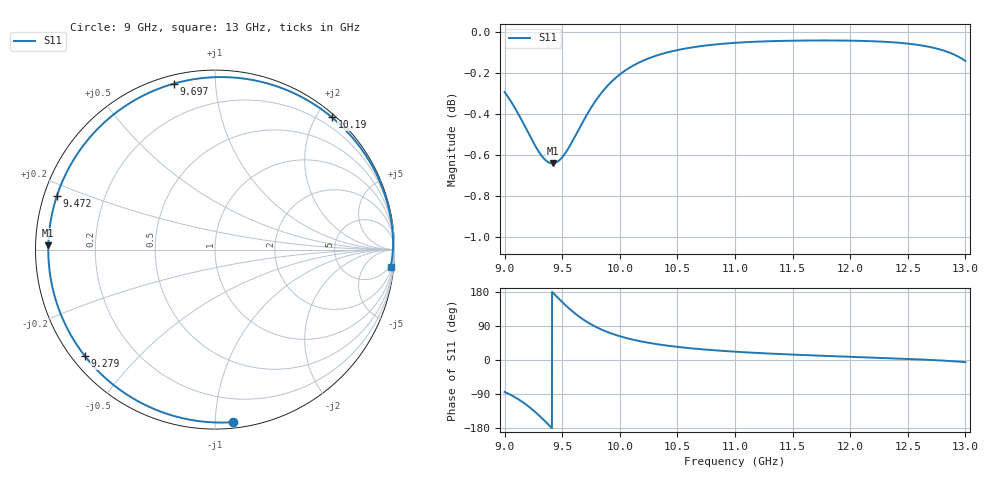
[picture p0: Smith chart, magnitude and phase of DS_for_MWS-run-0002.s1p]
! TOUCHSTONE file generated by CST DESIGN STUDIO
! Date and time: Tue Feb  4 14:22:58 2025
! Project name: C:\Work\MatlabApps\UnitCellOptimizationMatlab\CST\unitcell.cst
! Tree item: Tasks\Sweep1\SPara1\S-Parameters
! Header version: 2024
! Port assignment regex: !\s*Touchstone port\s*([0-9]+)\s*=\s*(CST MWS port|CST DES external port|CST DES block port)\s*(.+)\s* \(\"(.*)\"\)(\s*mode\s*([0-9]+))?.*
! Touchstone port assignment:
! Touchstone port 1 = CST DES external port 1 ("")
# GHz S MA R 50
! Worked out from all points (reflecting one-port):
!   4001 points, 9 GHz to 13 GHz, reference 50 ohm
!   lowest |S11| = -0.6 dB at 9.416 GHz (marker M1), VSWR 27.11, Z = 1.84 + j0.656 ohm
!   phase of S11 starts at -84 deg and turns -281 deg over the sweep
!   S11 on the Smith chart (normalised r, x): 9 GHz: 0.04, -1.11; 9.279 GHz: 0.04, -0.36; 9.472 GHz: 0.04, +0.16; 9.697 GHz: 0.04, +0.78; 10.19 GHz: 0.05, +2.22; 13 GHz: 3, -20
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9  0.9667 -84.2
9.02  0.9649 -87.0
9.084  0.9587 -97.2
9.154  0.9509 -110.6
9.218  0.9434 -125.0
9.279  0.9367 -140.8
9.352  0.9307 -161.8
9.416  0.9289 178.5
9.472  0.9303 161.3
9.5  0.932 152.9
9.549  0.9363 138.9
9.596  0.9412 126.6
9.645  0.9468 115.0
9.697  0.9527 104.0
9.764  0.9596 91.9
9.844  0.9665 80.0
9.919  0.9718 70.8
10  0.9763 62.7
10.091  0.9802 55.3
10.193  0.9836 48.6
10.334  0.9869 41.2
10.5  0.9897 34.6
10.723  0.992 28.0
11  0.9937 21.9
11.5  0.9949 14.2
12  0.9949 8.5
12.5  0.9933 2.8
13  0.9836 -5.7
